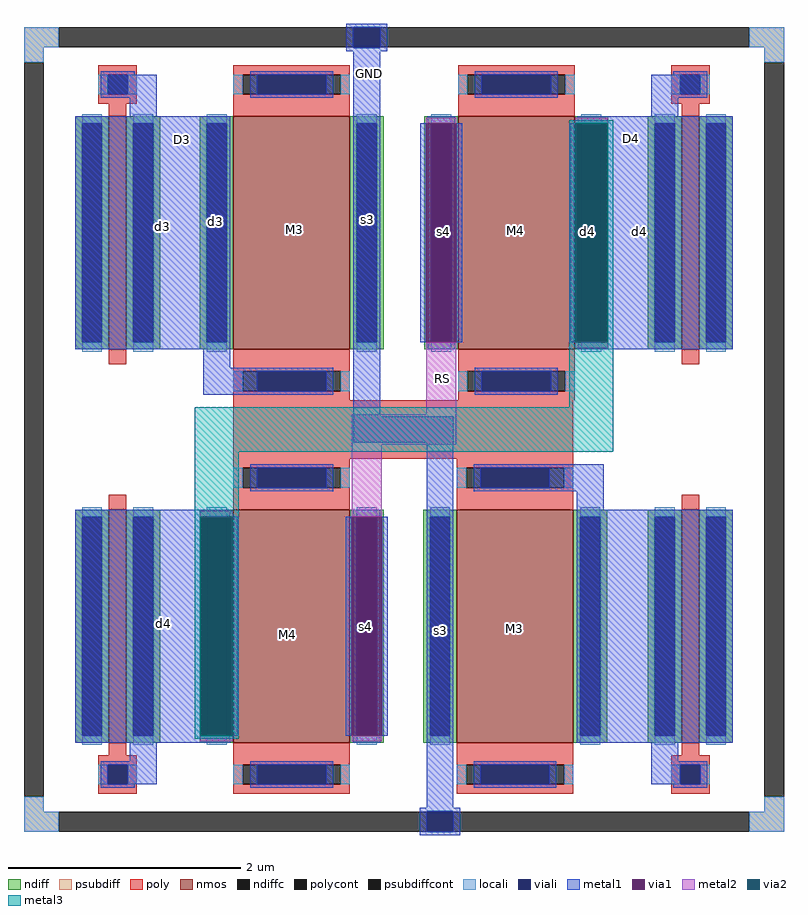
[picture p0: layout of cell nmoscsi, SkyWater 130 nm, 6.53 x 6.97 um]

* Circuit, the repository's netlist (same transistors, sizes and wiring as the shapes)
** sch_path: /home/jay_mosfet/opamp1stage/magic/nmoscsi.sch
.subckt nmoscsi RS GND D3 D4
*.PININFO RS:B GND:B D3:B D4:B
XM3 D3 D3 GND GND sky130_fd_pr__nfet_01v8 L=1 W=2 nf=1 m=2
XM4 D4 D3 RS GND sky130_fd_pr__nfet_01v8 L=1 W=2 nf=1 m=2
XM1 D3 D3 D3 GND sky130_fd_pr__nfet_01v8 L=0.15 W=2 nf=1 m=2
XM2 D4 D4 D4 GND sky130_fd_pr__nfet_01v8 L=0.15 W=2 nf=1 m=2
.ends
.end

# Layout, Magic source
magic
tech sky130A
magscale 1 2
<< psubdiff >>
rect -302 607 -242 641
rect 944 607 1004 641
rect -302 581 -268 607
rect 970 581 1004 607
rect -302 -707 -268 -681
rect 970 -707 1004 -681
rect -302 -741 -242 -707
rect 944 -741 1004 -707
<< psubdiffcont >>
rect -242 607 944 641
rect -302 -681 -268 581
rect 970 -681 1004 581
rect -242 -741 944 -707
<< poly >>
rect 58 -100 642 0
rect -174 -626 -108 -610
rect -174 -660 -158 -626
rect -124 -660 -108 -626
rect -174 -676 -108 -660
rect 810 -626 876 -610
rect 810 -660 826 -626
rect 860 -660 876 -626
rect 810 -676 876 -660
<< polycont >>
rect -158 -660 -124 -626
rect 826 -660 860 -626
<< locali >>
rect -302 607 -242 641
rect 944 607 1004 641
rect -302 581 -268 607
rect 970 581 1004 607
rect 58 19 74 48
rect -174 -660 -158 -626
rect -124 -660 -108 -626
rect 810 -660 826 -626
rect 860 -660 876 -626
rect -302 -707 -268 -681
rect 970 -707 1004 -681
rect -302 -741 -242 -707
rect 944 -741 1004 -707
<< viali >>
rect 264 607 310 641
rect 264 606 310 607
rect -158 -660 -124 -626
rect 826 -660 860 -626
rect 390 -707 436 -706
rect 390 -741 436 -707
<< metal1 >>
rect 252 641 322 647
rect 252 606 264 641
rect 310 606 322 641
rect 252 600 322 606
rect -162 526 -74 560
rect -120 488 -74 526
rect -214 88 52 488
rect 264 487 310 600
rect 776 526 860 560
rect 776 488 822 526
rect 6 56 52 88
rect 6 10 98 56
rect 264 -27 310 486
rect 650 476 916 488
rect 379 100 389 476
rect 441 100 451 476
rect 637 100 647 476
rect 699 100 916 476
rect 650 88 916 100
rect 264 -73 436 -27
rect -214 -200 52 -188
rect -214 -576 3 -200
rect 55 -576 65 -200
rect 251 -576 261 -200
rect 313 -576 323 -200
rect -214 -588 52 -576
rect -120 -620 -74 -588
rect -170 -626 -74 -620
rect -170 -660 -158 -626
rect -124 -660 -74 -626
rect -170 -666 -112 -660
rect 390 -700 436 -73
rect 601 -156 694 -110
rect 648 -188 694 -156
rect 648 -588 916 -188
rect 776 -620 822 -588
rect 776 -626 872 -620
rect 776 -660 826 -626
rect 860 -660 872 -626
rect 814 -666 872 -660
rect 378 -706 448 -700
rect 378 -741 390 -706
rect 436 -741 448 -706
rect 378 -747 448 -741
<< via1 >>
rect 389 100 441 476
rect 647 100 699 476
rect 3 -576 55 -200
rect 261 -576 313 -200
<< metal2 >>
rect 389 476 441 486
rect 389 -24 441 100
rect 645 476 701 486
rect 645 90 701 100
rect 261 -76 441 -24
rect 1 -200 57 -190
rect 1 -586 57 -576
rect 261 -200 313 -76
rect 261 -586 313 -576
<< via2 >>
rect 645 100 647 476
rect 647 100 699 476
rect 699 100 701 476
rect 1 -576 3 -200
rect 3 -576 55 -200
rect 55 -576 57 -200
<< metal3 >>
rect 635 476 711 481
rect 635 100 645 476
rect 701 100 711 476
rect 635 -12 711 100
rect -9 -88 711 -12
rect -9 -200 67 -88
rect -9 -576 1 -200
rect 57 -576 67 -200
rect -9 -581 67 -576
use sky130_fd_pr__nfet_01v8_46AAJJ  sky130_fd_pr__nfet_01v8_46AAJJ_0
transform 1 0 542 0 1 -388
box -158 -288 158 288
use sky130_fd_pr__nfet_01v8_46AAJJ  sky130_fd_pr__nfet_01v8_46AAJJ_1
transform 1 0 158 0 1 288
box -158 -288 158 288
use sky130_fd_pr__nfet_01v8_46AAJJ  sky130_fd_pr__nfet_01v8_46AAJJ_2
transform 1 0 544 0 1 288
box -158 -288 158 288
use sky130_fd_pr__nfet_01v8_46AAJJ  sky130_fd_pr__nfet_01v8_46AAJJ_3
transform 1 0 158 0 1 -388
box -158 -288 158 288
use sky130_fd_pr__nfet_01v8_TC9PLT  sky130_fd_pr__nfet_01v8_TC9PLT_0
transform 1 0 843 0 1 -388
box -73 -226 73 226
use sky130_fd_pr__nfet_01v8_TC9PLT  sky130_fd_pr__nfet_01v8_TC9PLT_2
transform 1 0 -141 0 1 -388
box -73 -226 73 226
use sky130_fd_pr__nfet_01v8_TCR5KT  sky130_fd_pr__nfet_01v8_TCR5KT_0
transform 1 0 -141 0 1 319
box -73 -257 73 257
use sky130_fd_pr__nfet_01v8_TCR5KT  sky130_fd_pr__nfet_01v8_TCR5KT_1
transform 1 0 843 0 1 319
box -73 -257 73 257
<< labels >>
flabel metal1 288 311 288 311 0 FreeSans 160 0 0 0 s3
flabel metal1 27 307 27 307 0 FreeSans 160 0 0 0 d3
flabel space 162 294 162 294 0 FreeSans 160 0 0 0 M3
flabel space 543 292 543 292 0 FreeSans 160 0 0 0 M4
flabel metal1 756 291 756 291 0 FreeSans 160 0 0 0 d4
flabel via1 667 290 667 290 0 FreeSans 160 0 0 0 d4
flabel metal1 -64 299 -64 299 0 FreeSans 160 0 0 0 d3
flabel metal1 -62 -384 -62 -384 0 FreeSans 160 0 0 0 d4
flabel metal1 413 -395 413 -395 0 FreeSans 160 0 0 0 s3
flabel space 150 -402 150 -402 0 FreeSans 160 0 0 0 M4
flabel via1 419 291 419 291 0 FreeSans 160 0 0 0 s4
flabel via1 284 -389 284 -389 0 FreeSans 160 0 0 0 s4
flabel space 541 -392 541 -392 0 FreeSans 160 0 0 0 M3
flabel metal1 291 562 291 562 0 FreeSans 160 0 0 0 GND
port 1 nsew
flabel metal2 417 38 417 38 0 FreeSans 160 0 0 0 RS
port 2 nsew
flabel metal1 -30 449 -30 449 0 FreeSans 160 0 0 0 D3
port 3 nsew
flabel metal1 742 450 742 450 0 FreeSans 160 0 0 0 D4
port 5 nsew
<< end >>

# cell sky130_fd_pr__nfet_01v8_46AAJJ: kit device sky130_fd_pr__nfet_01v8, w 2 l 1 m 1 nf 1 diffcov 100 polycov 100 guard 0 glc 1 grc 1 gtc 1 gbc 1 tbcov 100 rlcov 100 topc 1 botc 1 poverlap 0 doverlap 1 lmin 0.15 wmin 0.42 compatible {sky130_fd_pr__nfet_01v8 sky130_fd_pr__nfet_01v8_lvt sky130_fd_bs_flash__special_sonosfet_star sky130_fd_pr__nfet_g5v0d10v5 sky130_fd_pr__nfet_05v0_nvt sky130_fd_pr__nfet_03v3_nvt} full_metal 1 viasrc 100 viadrn 100 viagate 70 viagb 0 viagr 0 viagl 0 viagt 0

# cell sky130_fd_pr__nfet_01v8_TC9PLT: kit device sky130_fd_pr__nfet_01v8, w 2 l 0.150 m 1 nf 1 diffcov 100 polycov 100 guard 0 glc 1 grc 1 gtc 1 gbc 1 tbcov 100 rlcov 100 topc 0 botc 0 poverlap 0 doverlap 1 lmin 0.15 wmin 0.42 compatible {sky130_fd_pr__nfet_01v8 sky130_fd_pr__nfet_01v8_lvt sky130_fd_bs_flash__special_sonosfet_star sky130_fd_pr__nfet_g5v0d10v5 sky130_fd_pr__nfet_05v0_nvt sky130_fd_pr__nfet_03v3_nvt} full_metal 1 viasrc 100 viadrn 100 viagate 100 viagb 0 viagr 0 viagl 0 viagt 0

# cell sky130_fd_pr__nfet_01v8_TCR5KT: kit device sky130_fd_pr__nfet_01v8, w 2 l 0.150 m 1 nf 1 diffcov 100 polycov 100 guard 0 glc 1 grc 1 gtc 1 gbc 1 tbcov 100 rlcov 100 topc 1 botc 0 poverlap 0 doverlap 1 lmin 0.15 wmin 0.42 compatible {sky130_fd_pr__nfet_01v8 sky130_fd_pr__nfet_01v8_lvt sky130_fd_bs_flash__special_sonosfet_star sky130_fd_pr__nfet_g5v0d10v5 sky130_fd_pr__nfet_05v0_nvt sky130_fd_pr__nfet_03v3_nvt} full_metal 1 viasrc 100 viadrn 100 viagate 100 viagb 0 viagr 0 viagl 0 viagt 0
